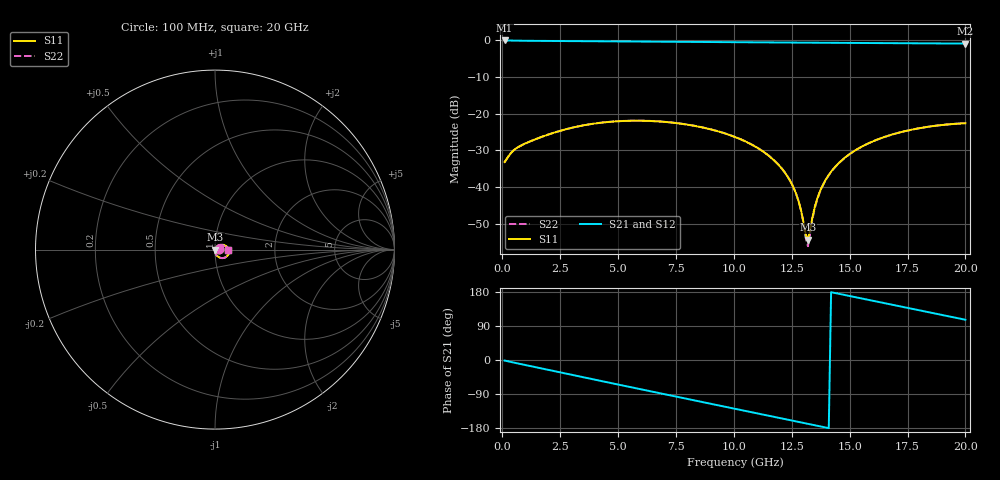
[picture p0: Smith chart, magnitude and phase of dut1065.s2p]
! Touchstone file exported from HFSS 2026.1.0
!  File:  C:/ffzhzh/LocalFiles/Ansys_Project_Files/temp_train_TSV_RDL_1065_1783298809_39728.aedt
!  Generated:  08:53:41 AM Jul  6, 2026
!  Design:  TSV_RDL
!  Project:  temp_train_TSV_RDL_1065_1783298809_39728
! Variables:
!  h_bsmrdl = 3.39um
!  h_ox = 20um
!  h_rdl = 5um
!  h_sub = 68.37um
!  h_tmrdl = 4.26um
!  h_tsv = 68.37um
!  h_via = 3um
!  l_bsmrdl = 625.97um
!  l_sub = 4244.94um
!  l_tmrdl = 465.47um
!  m_sub = 200um
!  pitch = 23.58um
!  r_tsv = 9.32um
!  s_tmrdl = 10um
!  w_bsmrdl = 16.78um
!  w_sub = 500um
!  w_tmrdl = 18.27um
!  x_tsv_center1 = 474.605um
!  x_tsv_center2 = 1117.355um
!  x_tsv_center3 = 1601.095um
!  x_tsv_center4 = 2243.845um
!  x_tsv_center5 = 2727.585um
!  x_tsv_center6 = 3370.335um
# GHz S MA R 50.000000
! Terminal data exported
! Port[1] = TM_RDL1_1_T1
! Port[2] = TM_RDL5_1_T1
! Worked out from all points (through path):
!   200 points, 100 MHz to 20 GHz, reference 50 ohm
!   highest |S21| = -0.19 dB at 100 MHz (marker M1); lowest = -1.0 dB at 20 GHz (marker M2)
!   group delay of S21, straight-line fit = 35.1 ps
!   lowest |S11| = -54.2 dB at 13.2 GHz (marker M3), VSWR 1.00, Z = 50.2 - j0.0109 ohm
!   |S11| at or under -10 dB: start of sweep to end of sweep
!   |S22| runs from -55.9 to -21.9 dB; largest |S21 - S12| = 5.7e-14
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0.1  0.02198 10.6  0.9785 -1.5  0.9785 -1.5  0.02198 10.6
! Gamma 0 0 0 0
! Port Impedance 50 0 50 0
0.5  0.03193 22.8  0.9721 -6.9  0.9721 -6.9  0.03194 22.8
0.9  0.03809 23.6  0.9687 -12.0  0.9687 -12.0  0.03811 23.6
3.5  0.06912 11.9  0.9571 -45.6  0.9571 -45.6  0.06916 11.8
5.2  0.07929 -6.1  0.9485 -67.3  0.9485 -67.3  0.07936 -6.2
6.8  0.07805 -24.7  0.9409 -87.6  0.9409 -87.6  0.07814 -24.9
8.4  0.06722 -43.5  0.9337 -107.9  0.9337 -107.9  0.06733 -43.8
10.1  0.04745 -63.3  0.9264 -129.4  0.9264 -129.4  0.04756 -63.7
11.4  0.02848 -77.3  0.9208 -145.8  0.9208 -145.8  0.02857 -78.0
12.3  0.01432 -84.2  0.917 -157.2  0.917 -157.2  0.01438 -85.6
12.8  0.006426 -80.4  0.9148 -163.5  0.9148 -163.5  0.006423 -83.7
13  0.003483 -66.7  0.914 -166.0  0.914 -166.0  0.003386 -72.5
13.1  0.002316 -45.3  0.9135 -167.2  0.9135 -167.2  0.002098 -52.7
13.2  0.001947 -3.2  0.9131 -168.5  0.9131 -168.5  0.001595 -4.4
13.4  0.004015 46.5  0.9122 -171.0  0.9122 -171.0  0.003787 50.3
13.6  0.006988 56.8  0.9114 -173.5  0.9114 -173.5  0.006825 59.2
13.8  0.01007 59.4  0.9105 -176.1  0.9105 -176.1  0.009941 61.1
14.4  0.01931 57.6  0.908 176.4  0.908 176.4  0.01922 58.4
15.4  0.03391 48.3  0.9039 163.8  0.9039 163.8  0.03386 48.7
16.7  0.05043 34.2  0.8988 147.5  0.8988 147.5  0.05042 34.4
18.4  0.06626 15.2  0.8928 126.3  0.8928 126.3  0.06628 15.2
20  0.07393 -2.7  0.888 106.2  0.888 106.2  0.07398 -2.7
